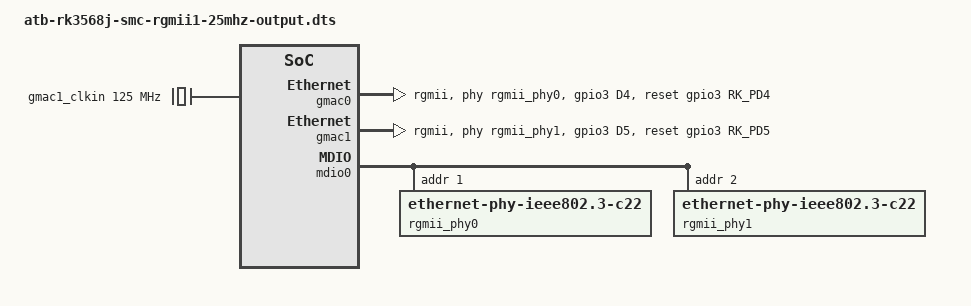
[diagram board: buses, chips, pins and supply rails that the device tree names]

/dts-v1/;

#include "atb-rk3568j-smc.dts"

/ {
	gmac1_clkin: external-gmac1-clock {
		compatible = "fixed-clock";
		clock-frequency = <125000000>;
		clock-output-names = "gmac1_clkin";
		#clock-cells = <0>;
	};
};

&gmac0 {
	phy-mode = "rgmii";
	clock_in_out = "input";

	assigned-clocks = <&cru SCLK_GMAC0_RX_TX>, <&cru SCLK_GMAC0>;
	assigned-clock-parents = <&cru SCLK_GMAC0_RGMII_SPEED>;

	pinctrl-names = "default";
	pinctrl-0 = <&gmac0_miim
		     &gmac0_tx_bus2
		     &gmac0_rx_bus2
		     &gmac0_rgmii_clk
		     &gmac0_rgmii_bus
		     &gmac0_clkinout
		     &rgmii_phy0_reset_pin>;
/*
	RGMII0_RST -> VT6(NMOS) -> RGMII0_RST_
	0 -> 1
	1 -> 0
*/
	snps,reset-gpio = <&gpio3 RK_PD4 GPIO_ACTIVE_HIGH>;
	snps,reset-active-high;

	/* Reset time is 20ms, 100ms for rtl8211f */
	snps,reset-delays-us = <0 20000 100000>;

	tx_delay = <0x3c>;
	rx_delay = <0x2f>;

	phy-handle = <&rgmii_phy0>;
	status = "okay";
};

&gmac1 {
	phy-mode = "rgmii";
	clock_in_out = "input";

	assigned-clocks = <&cru SCLK_GMAC1_RX_TX>, <&cru SCLK_GMAC1>, <&cru CLK_MAC1_OUT>;
	assigned-clock-parents = <&cru SCLK_GMAC1_RGMII_SPEED>, <&gmac1_clkin>;
	assigned-clock-rates = <0>, <125000000>, <25000000>;

	pinctrl-names = "default";
	pinctrl-0 = <&gmac1m0_tx_bus2
			&gmac1m0_rx_bus2
			&gmac1m0_rgmii_clk
			&gmac1m0_rgmii_bus
			&eth1m0_pins
			&gmac1m0_clkinout
			&rgmii_phy1_reset_pin>;
/*
	RGMII1_RST -> VT7(NMOS) -> RGMII1_RST_
	0 -> 1
	1 -> 0
*/
	snps,reset-gpio = <&gpio3 RK_PD5 GPIO_ACTIVE_HIGH>;
	snps,reset-active-high;

	/* Reset time is 20ms, 100ms for rtl8211f */
	snps,reset-delays-us = <0 20000 100000>;

	tx_delay = <0x4f>;
	rx_delay = <0x26>;

	phy-handle = <&rgmii_phy1>;
	status = "okay";
};

&mdio0 {
	rgmii_phy0: ethernet-phy@1 {
		compatible = "ethernet-phy-ieee802.3-c22";
		reg = <0x1>;
		led_status_value = <0x6940>;
	};

    rgmii_phy1: ethernet-phy@2 {
		compatible = "ethernet-phy-ieee802.3-c22";
		reg = <0x2>;
		clocks = <&cru CLK_MAC1_OUT>;
		led_status_value = <0x6940>;
	};
};

&pinctrl {
	rgmii_phy0_reset {
		rgmii_phy0_reset_pin: rgmii-phy0-reset-pin {
/*
			RGMII0_RST -> VT6(NMOS) -> RGMII0_RST_
			0 -> 1
			1 -> 0
*/
			rockchip,pins = <3 RK_PD4 RK_FUNC_GPIO &pcfg_pull_none>;
		};
	};

    rgmii_phy1_reset {
		rgmii_phy1_reset_pin: rgmii-phy1-reset-pin {
/*
			RGMII1_RST -> VT7(NMOS) -> RGMII1_RST_
			0 -> 1
			1 -> 0
*/
			rockchip,pins = <3 RK_PD5 RK_FUNC_GPIO &pcfg_pull_none>;
		};
	};
};
